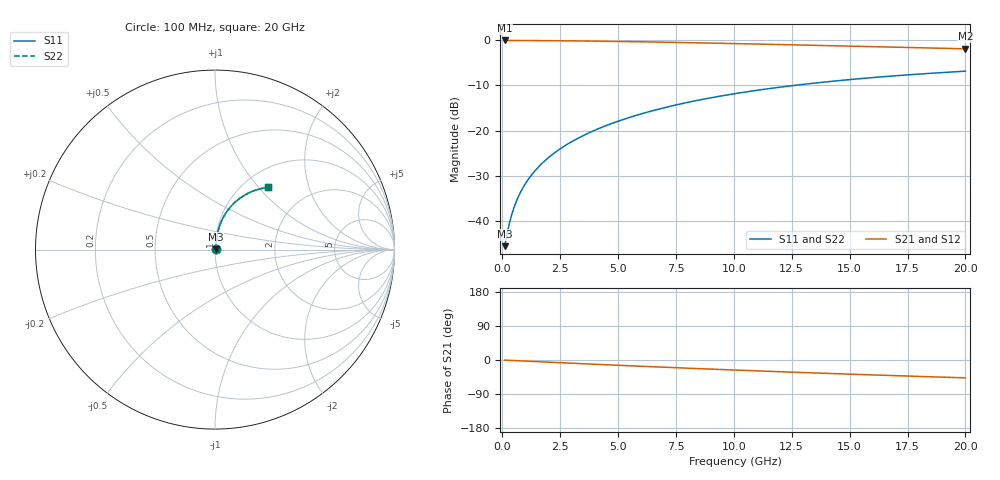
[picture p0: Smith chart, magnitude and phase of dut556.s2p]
! Touchstone file exported from HFSS 2024.1.0
!  File:  C:/UserFiles/LocalFiles/RDL_TSV_Batchsim/temp_RDL_bottom_556_1779689591.aedt
!  Generated:  02:15:29 PM May 25, 2026
!  Design:  RDL_bottom
!  Project:  temp_RDL_bottom_556_1779689591
!  Setup:  Setup1
!  Solution:  Sweep
! Variables:
!  dtsv = 10.80580581um
!  hbump = 3um
!  htsv = 90.48um
!  ldown = 611.91um
!  lrdl = 100um
!  p = 40
!  p1 = 58.55um
!  rhole = 1um
!  t = 450um
!  tdown = 2.43um
!  trdl = 3.915915916um
!  wdown = 20.73um
!  wrdl = 20um
# GHz S MA R 50.000000
! Terminal data exported
! Port[1] = RDL1_T1
! Port[2] = RDL1_T2
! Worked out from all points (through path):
!   200 points, 100 MHz to 20 GHz, reference 50 ohm
!   highest |S21| = -0.04 dB at 100 MHz (marker M1); lowest = -1.9 dB at 20 GHz (marker M2)
!   group delay of S21, straight-line fit = 6.52 ps
!   lowest |S11| = -45.5 dB at 100 MHz (marker M3), VSWR 1.01, Z = 50.5 + j0.271 ohm
!   |S11| at or under -10 dB: start of sweep to 12.58 GHz
!   |S22| runs from -45.5 to -6.8 dB; largest |S21 - S12| = 5e-15
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0.1  0.005279 30.6  0.9955 -0.3  0.9955 -0.3  0.005279 30.6
! Gamma 0 0 0 0
! Port Impedance 50 0 50 0
0.3  0.009301 58.7  0.9951 -0.9  0.9951 -0.9  0.0093 58.7
0.4  0.01164 64.4  0.9949 -1.2  0.9949 -1.2  0.01164 64.4
0.5  0.01401 68.1  0.9947 -1.5  0.9947 -1.5  0.01401 68.1
0.6  0.0164 70.7  0.9944 -1.8  0.9944 -1.8  0.0164 70.7
0.8  0.02118 74.2  0.9939 -2.3  0.9939 -2.3  0.02118 74.2
1.1  0.02841 77.2  0.9932 -3.2  0.9932 -3.2  0.02841 77.2
1.3  0.03327 78.5  0.9926 -3.7  0.9926 -3.7  0.03327 78.5
1.6  0.04062 79.7  0.9916 -4.6  0.9916 -4.6  0.04062 79.7
2.1  0.053 80.8  0.9897 -6.0  0.9897 -6.0  0.053 80.8
2.7  0.06805 81.2  0.9868 -7.7  0.9868 -7.7  0.06805 81.2
3.5  0.08841 81.0  0.982 -9.9  0.982 -9.9  0.08842 81.0
4.2  0.1065 80.4  0.9771 -11.8  0.9771 -11.8  0.1065 80.4
5  0.1273 79.4  0.9708 -13.9  0.9708 -13.9  0.1273 79.4
5.9  0.1508 78.0  0.9629 -16.3  0.9629 -16.3  0.1508 78.0
6.8  0.1743 76.4  0.9543 -18.6  0.9543 -18.6  0.1744 76.4
8.4  0.2157 73.2  0.9377 -22.6  0.9377 -22.6  0.2157 73.2
10.1  0.2581 69.6  0.919 -26.6  0.919 -26.6  0.2582 69.6
11.7  0.2962 66.2  0.9006 -30.3  0.9006 -30.3  0.2962 66.2
13.4  0.3341 62.6  0.8807 -34.0  0.8807 -34.0  0.3342 62.6
16.7  0.3999 55.8  0.842 -40.8  0.842 -40.8  0.4 55.8
20  0.4553 49.6  0.8045 -47.1  0.8045 -47.1  0.4553 49.5
